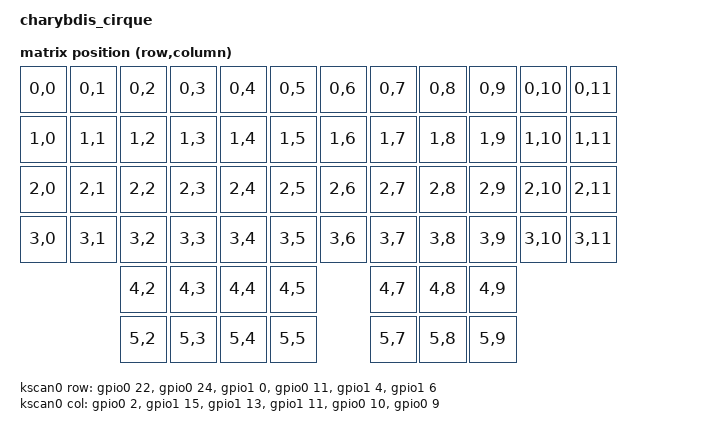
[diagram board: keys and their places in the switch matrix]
/dts-v1/;

#include <nordic/nrf52840_qiaa.dtsi>
#include <dt-bindings/zmk/matrix_transform.h>
/* #include <freq.h> */

#include "charybdis_cirque-layouts.dtsi"
/ {
  model = "charybdis_cirque";
  compatible = "charybdis_cirque", "nordic,nrf52840";

  chosen {
    zephyr,code-partition = &code_partition;
    zephyr,sram = &sram0;
    zephyr,flash = &flash0;
    zmk,kscan = &kscan0;
    zmk,battery = &vbatt;
    zmk,physical-layout = &default_layout;
  };
    // Node name must match original "EXT_POWER" label to preserve user settings.
    EXT_POWER {
        compatible = "zmk,ext-power-generic";
        control-gpios = <&gpio0 13 GPIO_ACTIVE_HIGH>;
        init-delay-ms = <50>;
    };
  vbatt: vbatt {
    compatible = "zmk,battery-nrf-vddh";
  };

  default_transform: keymap_transform_0 {
    compatible = "zmk,matrix-transform";
    columns = <12>;
    rows = <6>;

    map = <
    RC(0,0) RC(0,1) RC(0,2) RC(0,3) RC(0,4) RC(0,5)  RC(0,6)  RC(0,7) RC(0,8) RC(0,9) RC(0,10) RC(0,11)
    RC(1,0) RC(1,1) RC(1,2) RC(1,3) RC(1,4) RC(1,5)  RC(1,6)  RC(1,7) RC(1,8) RC(1,9) RC(1,10) RC(1,11)
    RC(2,0) RC(2,1) RC(2,2) RC(2,3) RC(2,4) RC(2,5)  RC(2,6)  RC(2,7) RC(2,8) RC(2,9) RC(2,10) RC(2,11)
    RC(3,0) RC(3,1) RC(3,2) RC(3,3) RC(3,4) RC(3,5)  RC(3,6)  RC(3,7) RC(3,8) RC(3,9) RC(3,10) RC(3,11)
                    RC(4,2) RC(4,3) RC(4,4) RC(4,5)           RC(4,7) RC(4,8) RC(4,9) 
                    RC(5,2) RC(5,3) RC(5,4) RC(5,5)           RC(5,7) RC(5,8) RC(5,9) 
    >;
  };

  kscan0: kscan {
    compatible = "zmk,kscan-gpio-matrix";
    wakeup-source;
    diode-direction = "col2row";
    row-gpios
      = <&gpio0 22 (GPIO_ACTIVE_HIGH | GPIO_PULL_DOWN)>
      , <&gpio0 24 (GPIO_ACTIVE_HIGH | GPIO_PULL_DOWN)>
      , <&gpio1 0  (GPIO_ACTIVE_HIGH | GPIO_PULL_DOWN)>
      , <&gpio0 11 (GPIO_ACTIVE_HIGH | GPIO_PULL_DOWN)>
      , <&gpio1 4  (GPIO_ACTIVE_HIGH | GPIO_PULL_DOWN)>
      , <&gpio1 6  (GPIO_ACTIVE_HIGH | GPIO_PULL_DOWN)>
    ;
    col-gpios
      = <&gpio0 2  (GPIO_ACTIVE_HIGH)>
      , <&gpio1 15 (GPIO_ACTIVE_HIGH)>
      , <&gpio1 13 (GPIO_ACTIVE_HIGH)>
      , <&gpio1 11 (GPIO_ACTIVE_HIGH)>
      , <&gpio0 10 (GPIO_ACTIVE_HIGH)>
      , <&gpio0 9  (GPIO_ACTIVE_HIGH)>
    ;
	};
	/*
	 mouse_listener {
		compatible = "zmk,input-listener";
		device = <&mouse>;
	};
*/
};

&flash0 {
    /*
     * For more information, see:
     * http://docs.zephyrproject.org/latest/devices/dts/flash_partitions.html
     */
    partitions {
        compatible = "fixed-partitions";
        #address-cells = <1>;
        #size-cells = <1>;

        sd_partition: partition@0 {
            reg = <0x00000000 0x00026000>;
        };
        code_partition: partition@26000 {
            reg = <0x00026000 0x000c6000>;
        };

        /*
         * The flash starting at 0x000ec000 and ending at
         * 0x000f3fff is reserved for use by the application.
         */

        /*
         * Storage partition will be used by FCB/LittleFS/NVS
         * if enabled.
         */
        storage_partition: partition@ec000 {
            reg = <0x000ec000 0x00008000>;
        };

        boot_partition: partition@f4000 {
            reg = <0x000f4000 0x0000c000>;
        };
    };
};

&pinctrl {
    spi0_default: spi0_default {
        group1 {
            psels = <NRF_PSEL(SPIM_SCK, 0, 31)>,
                    <NRF_PSEL(SPIM_MOSI, 0, 20)>,
                    <NRF_PSEL(SPIM_MISO, 0, 17)>;
        };
    };
    spi0_sleep: spi0_sleep {
        group1 {
            psels = <NRF_PSEL(SPIM_SCK, 0, 31)>,
                    <NRF_PSEL(SPIM_MOSI, 0, 20)>,
                    <NRF_PSEL(SPIM_MISO, 0, 17)>;
            low-power-enable;
        };
    };
};
/*
&spi0 {
    compatible = "nordic,nrf-spim";
    pinctrl-0 = <&spi0_default>;
    pinctrl-1 = <&spi0_sleep>;
    pinctrl-names = "default", "sleep";
    status = "okay";
    cs-gpios = <&gpio0 29 GPIO_ACTIVE_LOW>;
    mouse: mouse@0 {
        compatible = "pixart,pmw3360";
        status = "okay";
        reg = <0>;
        spi-max-frequency = <2000000>;
        irq-gpios = <&gpio0 8 (GPIO_ACTIVE_LOW | GPIO_PULL_UP)>;
        cpi = <600>;
        rotate-90;
    };
};
*/
/*
&nice_nano_spi {
  compatible = "nordic,nrf-spim";
  status = "disabled";
  miso-pin = <17>; // P0.17
  mosi-pin = <20>; // P0.20
  sck-pin = <31>; // P0.22
  cs-gpios = <&gpio0 29 GPIO_ACTIVE_LOW>; // P0.24

  trackball: trackball@0 {
      status = "disabled";
      compatible = "pixart,pmw3360";
      reg = <0>;
      label = "Pixart PMW3360";
      irq-gpios = <&gpio0 8  (GPIO_ACTIVE_LOW | GPIO_PULL_UP)>;
      spi-max-frequency = <2000000>;
      scroll-layer = <2>;
  };
};
*/

&adc {
    status = "okay";
};

&gpiote {
    status = "okay";
};

&gpio0 {
    status = "okay";
};

&gpio1 {
    status = "okay";
};

zephyr_udc0: &usbd {
    status = "okay";
};
